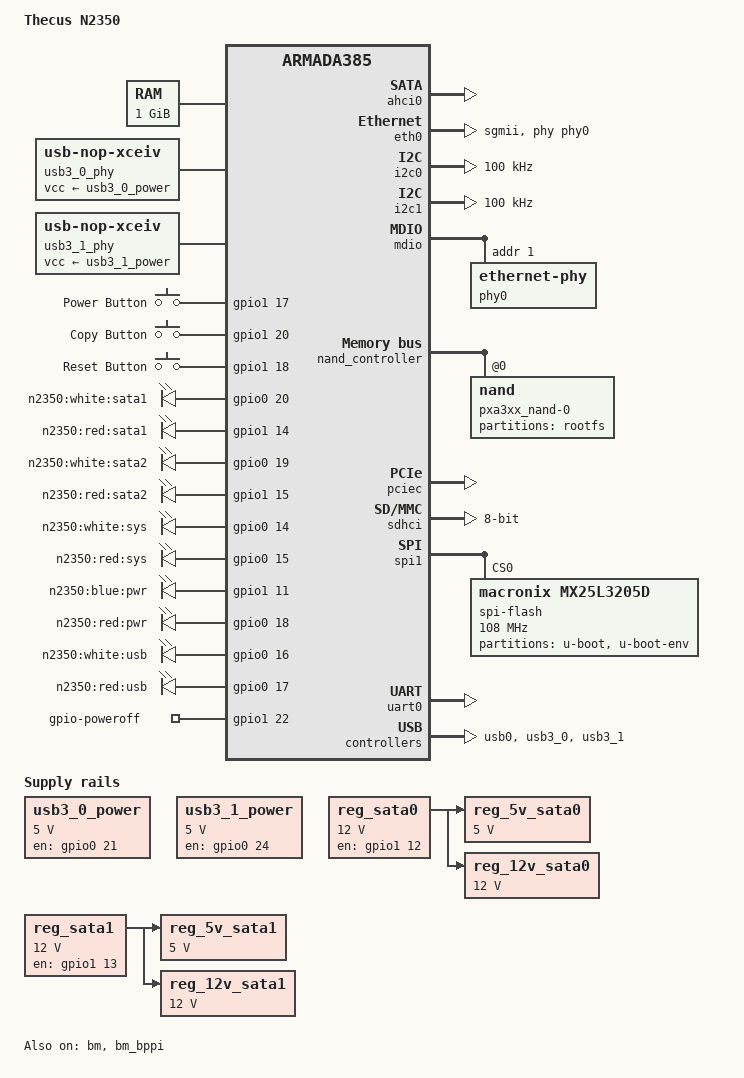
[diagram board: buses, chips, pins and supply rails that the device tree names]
// SPDX-License-Identifier: (GPL-2.0 OR MIT)
/*
 * Device Tree file for Thecus N2350 board
 *
 * Copyright (C) 2018-2023 Tony Dinh <mibodhi@gmail.com>
 * Copyright (C) 2018 Manuel Jung <manuel.jung@hotmail.com>
 */

/dts-v1/;
#include <dt-bindings/input/input.h>
#include <dt-bindings/gpio/gpio.h>
#include "armada-385.dtsi"

/ {
	model = "Thecus N2350";
	compatible = "thecus,n2350", "marvell,armada385";

	aliases {
		ethernet0 = &eth0;
	};

	chosen {
		stdout-path = "serial0:115200n8";
	};

	memory {
		device_type = "memory";
		reg = <0x00000000 0x40000000>; /* 1GB */
	};

	soc {
		ranges = <MBUS_ID(0xf0, 0x01) 0 0xf1000000 0x100000
			  MBUS_ID(0x01, 0x1d) 0 0xfff00000 0x100000
			  MBUS_ID(0x09, 0x19) 0 0xf1100000 0x10000
			  MBUS_ID(0x09, 0x15) 0 0xf1110000 0x10000
			  MBUS_ID(0x0c, 0x04) 0 0xf1200000 0x100000>;

	};

	usb3_0_phy: usb3_0_phy {
		compatible = "usb-nop-xceiv";
		vcc-supply = <&usb3_0_power>;
	};

	usb3_1_phy: usb3_1_phy {
		compatible = "usb-nop-xceiv";
		vcc-supply = <&usb3_1_power>;
	};

	gpio-keys {
		compatible = "gpio-keys";
		#address-cells = <1>;
		#size-cells = <0>;
		pinctrl-0 = <&pmx_power_button &pmx_copy_button &pmx_reset_button>;
		pinctrl-names = "default";

		button@1 {
			label = "Power Button";
			linux,code = <KEY_POWER>;
			gpios = <&gpio1 17 GPIO_ACTIVE_HIGH>;
		};

		button@2 {
			label = "Copy Button";
			linux,code = <KEY_COPY>;
			gpios = <&gpio1 20 GPIO_ACTIVE_HIGH>;
		};

		button@3 {
			label = "Reset Button";
			linux,code = <KEY_RESTART>;
			gpios = <&gpio1 18 GPIO_ACTIVE_HIGH>;
		};
	};

	gpio-leds {
		compatible = "gpio-leds";
		pinctrl-0 = <&pmx_sata1_white_led
				&pmx_sata1_red_led
				&pmx_sata2_white_led
				&pmx_sata2_red_led
				&pmx_sys_white_led
				&pmx_sys_red_led
				&pmx_pwr_blue_led
				&pmx_pwr_red_led
				&pmx_usb_white_led
				&pmx_usb_red_led>;

		pinctrl-names = "default";

		white_sata1 {
			label = "n2350:white:sata1";
			gpios = <&gpio0 20 GPIO_ACTIVE_HIGH>;
			linux,default-trigger = "ide-disk1";
		};

		red_sata1 {
			label = "n2350:red:sata1";
			gpios = <&gpio1 14 GPIO_ACTIVE_HIGH>;
		};

		white-sata2 {
			label = "n2350:white:sata2";
			gpios = <&gpio0 19 GPIO_ACTIVE_HIGH>;
		};

		red-sata2 {
			label = "n2350:red:sata2";
			gpios = <&gpio1 15 GPIO_ACTIVE_HIGH>;
		};

		white-sys {
			label = "n2350:white:sys";
			gpios = <&gpio0 14 GPIO_ACTIVE_HIGH>;
			linux,default-trigger = "default-on";
		};

		red-sys {
			label = "n2350:red:sys";
			gpios = <&gpio0 15 GPIO_ACTIVE_HIGH>;
		};

		blue-pwr {
			label = "n2350:blue:pwr";
			gpios = <&gpio1 11 GPIO_ACTIVE_HIGH>;
		};

		red-pwr {
			label = "n2350:red:pwr";
			gpios = <&gpio0 18 GPIO_ACTIVE_HIGH>;
		};

		white-usb {
			label = "n2350:white:usb";
			gpios = <&gpio0 16 GPIO_ACTIVE_HIGH>;
		};

		red-usb {
			label = "n2350:red:usb";
			gpios = <&gpio0 17 GPIO_ACTIVE_HIGH>;
		};
	};

	regulators {
		compatible = "simple-bus";
		#address-cells = <1>;
		#size-cells = <0>;

		usb3_0_power: regulator@1 {
			compatible = "regulator-fixed";
			reg = <1>;
			regulator-name = "USB3_0_Power";
			regulator-min-microvolt = <5000000>;
			regulator-max-microvolt = <5000000>;
			enable-active-high;
			regulator-always-on;
			regulator-boot-on;
			gpio = <&gpio0 21 GPIO_ACTIVE_HIGH>;
		};

		usb3_1_power: regulator@2 {
			compatible = "regulator-fixed";
			reg = <1>;
			regulator-name = "USB3_1_Power";
			regulator-min-microvolt = <5000000>;
			regulator-max-microvolt = <5000000>;
			enable-active-high;
			regulator-always-on;
			regulator-boot-on;
			gpio = <&gpio0 24 GPIO_ACTIVE_HIGH>;
		};

		reg_sata0: regulator@3 {
			compatible = "regulator-fixed";
			regulator-name = "pwr_en_sata0";
			regulator-min-microvolt = <12000000>;
			regulator-max-microvolt = <12000000>;
			enable-active-high;
			regulator-always-on;
			regulator-boot-on;
			gpio = <&gpio1 12 GPIO_ACTIVE_HIGH>;
		};

		reg_5v_sata0: v5-sata0 {
			compatible = "regulator-fixed";
			regulator-name = "v5.0-sata0";
			regulator-min-microvolt = <5000000>;
			regulator-max-microvolt = <5000000>;
			vin-supply = <&reg_sata0>;
		};

		reg_12v_sata0: v12-sata0 {
			compatible = "regulator-fixed";
			regulator-name = "v12.0-sata0";
			regulator-min-microvolt = <12000000>;
			regulator-max-microvolt = <12000000>;
			vin-supply = <&reg_sata0>;
		};

		reg_sata1: regulator@4 {
			regulator-name = "pwr_en_sata1";
			compatible = "regulator-fixed";
			regulator-min-microvolt = <12000000>;
			regulator-max-microvolt = <12000000>;
			enable-active-high;
			regulator-always-on;
			regulator-boot-on;
			gpio = <&gpio1 13 GPIO_ACTIVE_HIGH>;
		};

		reg_5v_sata1: v5-sata1 {
			compatible = "regulator-fixed";
			regulator-name = "v5.0-sata1";
			regulator-min-microvolt = <5000000>;
			regulator-max-microvolt = <5000000>;
			vin-supply = <&reg_sata1>;
		};

		reg_12v_sata1: v12-sata1 {
			compatible = "regulator-fixed";
			regulator-name = "v12.0-sata1";
			regulator-min-microvolt = <12000000>;
			regulator-max-microvolt = <12000000>;
			vin-supply = <&reg_sata1>;
		};

	};

	gpio-poweroff {
		compatible = "gpio-poweroff";
		pinctrl-0 = <&pmx_pwr_off>;
		pinctrl-names = "default";
		gpios = <&gpio1 22 GPIO_ACTIVE_HIGH>;
	};

};

&ahci0 {
	status = "okay";
};

&bm {
	status = "okay";
};

&bm_bppi {
	status = "okay";
};

&eth0 {
	status = "okay";
	phy = <&phy0>;
	phy-mode = "sgmii";
	buffer-manager = <&bm>;
	bm,pool-long = <0>;
	bm,pool-short = <1>;
};

&i2c0 {
	status = "okay";
	clock-frequency = <100000>;
};

&i2c1 {
	status = "okay";
	clock-frequency = <100000>;
};

&mdio {
	phy0: ethernet-phy@0 {
		reg = <1>;
	};
};

&nand_controller {
	status = "okay";

	nand@0 {
		status = "okay";
		reg = <0>;
		label = "pxa3xx_nand-0";
		nand-rb = <0>;
		marvell,nand-keep-config;
		nand-on-flash-bbt;
		nand-ecc-strength = <4>;
		nand-ecc-step-size = <512>;

		partitions {
			compatible = "fixed-partitions";
			#address-cells = <1>;
			#size-cells = <1>;

			partition@0 {
				label = "rootfs";
				reg = <0x00000000 0x20000000>;
			};

		};
	};
};

&pciec {
	status = "okay";
	/*
	 * The two PCIe units are accessible through
	 * standard PCIe slots on the board.
	 */
	pcie@1,0 {
		/* Port 0, Lane 0 */
		status = "okay";
	};
	pcie@2,0 {
		/* Port 1, Lane 0 */
		status = "okay";
	};
};

&pinctrl {
	pinctrl-names = "default";

	pmx_power_button: pmx-power-button {
		marvell,pins = "mpp49";
		marvell,function = "gpio";
	};

	pmx_copy_button: pmx-copy-button {
		marvell,pins = "mpp52";
		marvell,function = "gpio";
	};

	pmx_reset_button: pmx-reset-button {
		marvell,pins = "mpp50";
		marvell,function = "gpio";
	};

	pmx_sata1_white_led: pmx-sata1-white-led {
		marvell,pins = "mpp20";
		marvell,function = "gpio";
	};

	pmx_sata1_red_led: pmx-sata1-red-led {
		marvell,pins = "mpp46";
		marvell,function = "gpio";
	};

	pmx_sata2_white_led: pmx-sata2-white-led {
		marvell,pins = "mpp19";
		marvell,function = "gpio";
	};

	pmx_sata2_red_led: pmx-sata2-red-led {
		marvell,pins = "mpp47";
		marvell,function = "gpio";
	};

	pmx_sys_white_led: pmx-sys-white-led {
		marvell,pins = "mpp14";
		marvell,function = "gpio";
	};

	pmx_sys_red_led: pmx-sys-red-led {
		marvell,pins = "mpp15";
		marvell,function = "gpio";
	};

	pmx_buzzer: pmx-buzzer {
		marvell,pins = "mpp51";
		marvell,function = "gpio";
	};

	pmx_pwr_off: pmx-pwr-off {
		marvell,pins = "mpp54";
		marvell,function = "gpio";
	};

	pmx_pwr_blue_led: pmx-pwr-blue-led {
		marvell,pins = "mpp43";
		marvell,function = "gpio";
	};

	pmx_pwr_red_led: pmx-pwr-red-led {
		marvell,pins = "mpp18";
		marvell,function = "gpio";
	};

	pmx_usb_white_led: pmx-usb-white-led {
		marvell,pins = "mpp16";
		marvell,function = "gpio";
	};

	pmx_usb_red_led: pmx-usb-red-led {
		marvell,pins = "mpp17";
		marvell,function = "gpio";
	};
};

&sdhci {
	broken-cd;
	wp-inverted;
	bus-width = <8>;
	status = "okay";
	no-1-8-v;
};

&spi1 {
	pinctrl-names = "default";
	pinctrl-0 = <&spi1_pins>;
	status = "okay";

	/* spi: 4M Flash Macronix MX25L3205D */
	spi-flash@0 {
		#address-cells = <1>;
		#size-cells = <0>;
		compatible = "macronix,mx25l3205d", "jedec,spi-nor";
		reg = <0>;

		spi-max-frequency = <108000000>;
		spi-cpha;

		partition@0 {
			label = "u-boot";
			reg = <0x00000000 0x00100000>;
		};

		partition@100000 {
			label = "u-boot-env";
			reg = <0x00100000 0x00010000>;
		};
	};
};

&uart0 {
	status = "okay";
};

&usb0 {
	status = "okay";
};

&usb3_0 {
	status = "okay";
};

&usb3_1 {
	status = "okay";
};
